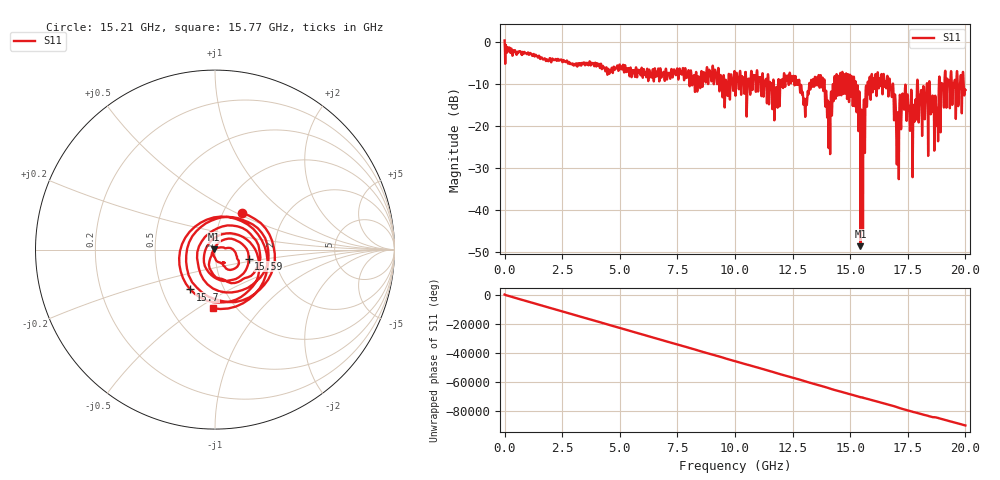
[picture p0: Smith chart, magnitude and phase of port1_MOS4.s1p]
! MS46122B
! 2250307/22442219
! 7/25/2025 1:35:41 PM
! C:\USERS\SPARKY\DOCUMENTS\VNA_DATA\JULY25_2025\3K\PORT1_MOS4.S1P
! CHANNEL.1
! TR.MEASUREMENT
! RAW.DATA
# GHZ S RI R 50.0
! FREQ.GHZ  S11RE  S11IM
!; PortSelection: Port_1
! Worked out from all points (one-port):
!   10001 points, 1 MHz to 20 GHz, reference 50 ohm
!   lowest |S11| = -48.7 dB at 15.45 GHz (marker M1), VSWR 1.01, Z = 49.6 + j0.11 ohm
!   |S11| at or under -10 dB: 12.8 GHz to 13.22 GHz (417.7 MHz wide, 3.21 % of centre); 15.25 GHz to 15.76 GHz (506.5 MHz wide, 3.27 % of centre); 16.86 GHz to 17.9 GHz (1.042 GHz wide, 5.99 % of centre) (the widest 3 of 89)
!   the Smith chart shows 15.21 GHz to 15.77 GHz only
!   S11 on the Smith chart (normalised r, x): 15.21 GHz: 1.23, +0.54; 15.59 GHz: 1.45, -0.15; 15.7 GHz: 0.69, -0.33; 15.77 GHz: 0.79, -0.58
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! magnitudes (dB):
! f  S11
! 1 MHz  0.4
! 2.501 GHz  -4.7
! 5.001 GHz  -5.5
! 7.501 GHz  -6.3
! 10 GHz  -8.7
! 11.78 GHz  -12.7
! 12.5 GHz  -9.2
! 13.04 GHz  -17.6
! 13.31 GHz  -9.0
! 13.79 GHz  -8.5
! 14.06 GHz  -24.7
! 14.41 GHz  -7.7
! 15 GHz  -8.0
! 15.21 GHz  -11.9
! 15.45 GHz  -48.7
! 15.59 GHz  -14.2
! 15.7 GHz  -11.6
! 15.77 GHz  -9.7
! 16.78 GHz  -11.4
! 17.05 GHz  -20.1
! 17.33 GHz  -15.5
! 17.5 GHz  -13.4
! 17.78 GHz  -18.9
! 17.85 GHz  -15.3
! 18.26 GHz  -15.1
! 18.73 GHz  -16.6
! 19.05 GHz  -12.1
! 20 GHz  -11.5
